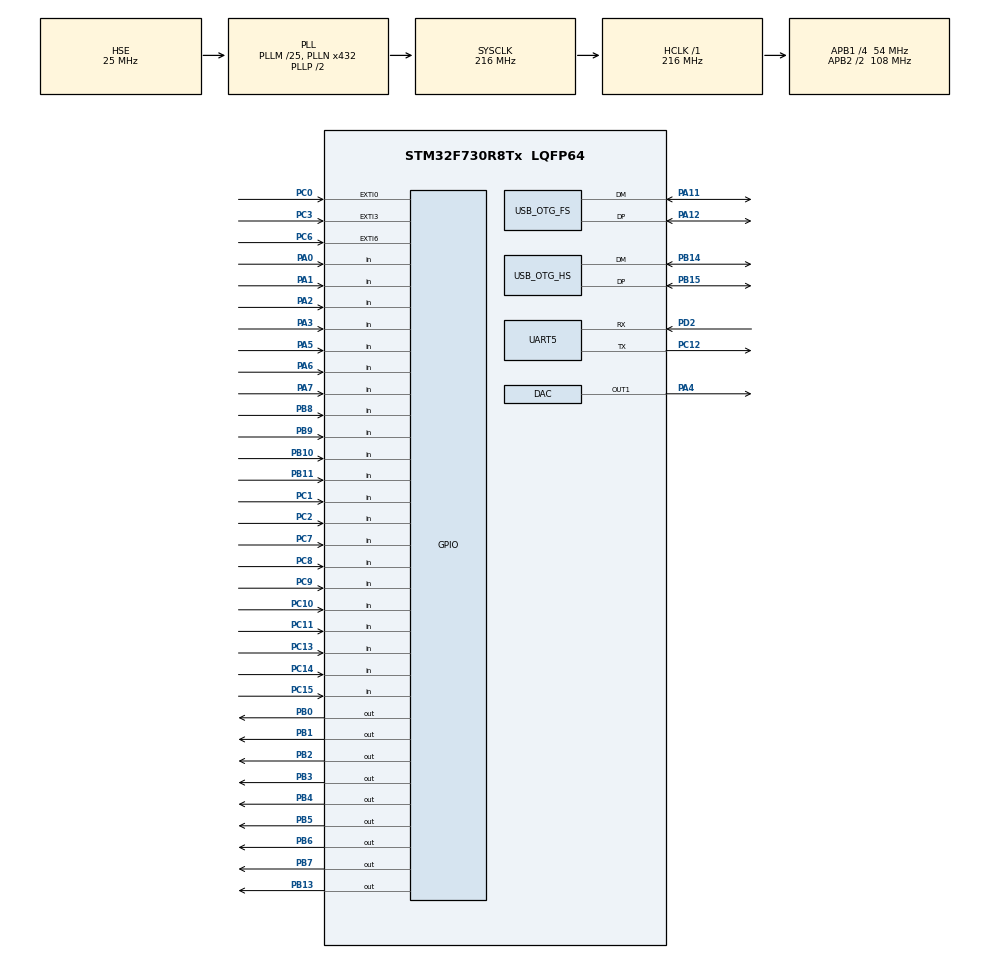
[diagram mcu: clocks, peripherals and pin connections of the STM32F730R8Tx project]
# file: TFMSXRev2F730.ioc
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Mcu.Family=STM32F7
Mcu.Name=STM32F730R8Tx
Mcu.Package=LQFP64
NVIC.EXTI0_IRQn=true\:0\:0\:false\:false\:false\:true\:true\:false
NVIC.EXTI3_IRQn=true\:0\:0\:false\:false\:false\:true\:true\:false
NVIC.EXTI9_5_IRQn=true\:2\:0\:true\:false\:false\:true\:true\:true
NVIC.FLASH_IRQn=true\:0\:0\:false\:false\:true\:true\:true\:true
NVIC.FPU_IRQn=true\:0\:0\:false\:false\:true\:true\:false\:true
NVIC.OTG_FS_IRQn=true\:1\:0\:true\:false\:true\:false\:true\:true
NVIC.OTG_HS_EP1_IN_IRQn=true\:1\:0\:true\:false\:true\:true\:true\:true
NVIC.OTG_HS_EP1_OUT_IRQn=true\:1\:0\:true\:false\:true\:true\:true\:true
NVIC.OTG_HS_IRQn=true\:1\:0\:true\:false\:true\:true\:true\:true
NVIC.PVD_IRQn=true\:0\:0\:false\:false\:true\:true\:true\:true
NVIC.PriorityGroup=NVIC_PRIORITYGROUP_4
NVIC.RCC_IRQn=true\:0\:0\:false\:false\:true\:true\:false\:true
NVIC.TIM6_DAC_IRQn=true\:3\:0\:true\:false\:true\:true\:true\:true
NVIC.TIM8_TRG_COM_TIM14_IRQn=true\:15\:0\:false\:false\:true\:false\:true\:true
NVIC.TimeBase=TIM8_TRG_COM_TIM14_IRQn
NVIC.TimeBaseIP=TIM14
NVIC.UART5_IRQn=true\:0\:0\:false\:false\:true\:true\:true\:true
PA0-WKUP.Signal=GPIO_Input
PA1.Signal=GPIO_Input
PA11.Mode=Host_Only
PA11.Signal=USB_OTG_FS_DM
PA12.Mode=Host_Only
PA12.Signal=USB_OTG_FS_DP
PA13.Mode=Serial_Wire
PA13.Signal=SYS_JTMS-SWDIO
PA14.Mode=Serial_Wire
PA14.Signal=SYS_JTCK-SWCLK
PA2.Signal=GPIO_Input
PA3.Signal=GPIO_Input
PA4.Signal=COMP_DAC1_group
PA5.Signal=GPIO_Input
PA6.Signal=GPIO_Input
PA7.Signal=GPIO_Input
PB0.Signal=GPIO_Output
PB1.Signal=GPIO_Output
PB10.Signal=GPIO_Input
PB11.Signal=GPIO_Input
PB13.PinState=GPIO_PIN_SET
PB13.Signal=GPIO_Output
PB14.Mode=Internal_Phy_Host
PB14.Signal=USB_OTG_HS_DM
PB15.Mode=Internal_Phy_Host
PB15.Signal=USB_OTG_HS_DP
PB2.Signal=GPIO_Output
PB3.Signal=GPIO_Output
PB4.Signal=GPIO_Output
PB5.Signal=GPIO_Output
PB6.Signal=GPIO_Output
PB7.Signal=GPIO_Output
PB8.Signal=GPIO_Input
PB9.Signal=GPIO_Input
PC0.Signal=GPXTI0
PC1.Signal=GPIO_Input
PC10.Signal=GPIO_Input
PC11.Signal=GPIO_Input
PC12.Mode=Asynchronous
PC12.Signal=UART5_TX
PC13.Signal=GPIO_Input
PC14-OSC32_IN.Signal=GPIO_Input
PC15-OSC32_OUT.Signal=GPIO_Input
PC2.Signal=GPIO_Input
PC3.Signal=GPXTI3
PC6.GPIO_ModeDefaultEXTI=GPIO_MODE_IT_RISING_FALLING
PC6.Signal=GPXTI6
PC7.Signal=GPIO_Input
PC8.Signal=GPIO_Input
PC9.Signal=GPIO_Input
PD2.Mode=Asynchronous
PD2.Signal=UART5_RX
PH0-OSC_IN.Mode=HSE-External-Oscillator
PH0-OSC_IN.Signal=RCC_OSC_IN
PH1-OSC_OUT.Mode=HSE-External-Oscillator
PH1-OSC_OUT.Signal=RCC_OSC_OUT
ProjectManager.HeapSize=0x2000
ProjectManager.StackSize=0x2000
ProjectManager.TargetToolchain=STM32CubeIDE
RCC.AHBFreq_Value=216000000
RCC.APB1CLKDivider=RCC_HCLK_DIV4
RCC.APB1Freq_Value=54000000
RCC.APB1TimFreq_Value=108000000
RCC.APB2CLKDivider=RCC_HCLK_DIV2
RCC.APB2Freq_Value=108000000
RCC.APB2TimFreq_Value=216000000
RCC.CortexFreq_Value=216000000
RCC.EnbaleCSS=true
RCC.HCLKFreq_Value=216000000
RCC.HSE_Timout=1000
RCC.HSE_VALUE=25000000
RCC.HSI_VALUE=16000000
RCC.LSE_VALUE=32768
RCC.PLLM=25
RCC.PLLN=432
RCC.PLLQ=9
RCC.SYSCLKFreq_VALUE=216000000
RCC.SYSCLKSource=RCC_SYSCLKSOURCE_PLLCLK
RCC.USBFreq_Value=48000000
RCC.VCOOutputFreq_Value=432000000
SH.COMP_DAC1_group.0=DAC_OUT1,DAC_OUT1
USB_HOST.USBH_HandleTypeDef-HID_FS=hUsbHostFS
USB_HOST.USBH_HandleTypeDef-HID_HS=hUsbHostHS
USB_HOST.VirtualModeFS=Hid
USB_HOST.VirtualModeHS=Hid
USB_OTG_FS.VirtualMode=Host_Only
USB_OTG_FS.phy_itface=HCD_PHY_EMBEDDED
USB_OTG_HS.Sof_enable-Internal_Phy_Host=DISABLE
USB_OTG_HS.VirtualMode-Internal_Phy_Host=Int_Phy_Host
USB_OTG_HS.dma_enable-Internal_Phy_Host=DISABLE
VP_SYS_VS_tim14.Mode=TIM14
VP_USB_HOST_VS_USB_HOST_HID_FS.Mode=HID_FS
VP_USB_HOST_VS_USB_HOST_HID_HS.Mode=HID_HS
board=custom

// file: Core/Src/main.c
/* USER CODE BEGIN Header */
/**
  ******************************************************************************
  * @file           : main.c
  * @brief          : Main program body
  ******************************************************************************
  * @attention
  *
  * Copyright (c) 2023 STMicroelectronics.
  * All rights reserved.
  *
  * This software is licensed under terms that can be found in the LICENSE file
  * in the root directory of this software component.
  * If no LICENSE file comes with this software, it is provided AS-IS.
  *
  ******************************************************************************
  */
/* USER CODE END Header */
#include "main.h"
#include <stdio.h>
#include "dac.h"
#include "usart.h"
#include "usb_host.h"
#include "gpio.h"

/* USER CODE BEGIN Includes */
#include "msx.h"
#include "joystick.h"

/* USER CODE END Includes */

void SystemClock_Config(void);
void MX_USB_HOST_Process(void);

/* USER CODE BEGIN 0 */
int __io_putchar(int ch)
{
  static int previous = 0;
  uint8_t byte;

  if ((ch == '\n') && (previous != '\r'))
  {
    byte = '\r';
    HAL_UART_Transmit(&huart5, &byte, 1, HAL_MAX_DELAY);
  }

  byte = (uint8_t)ch;
  HAL_UART_Transmit(&huart5, &byte, 1, HAL_MAX_DELAY);
  previous = ch;
  return ch;
}

/* USER CODE END 0 */

int main(void)
{

  /* MCU Configuration--------------------------------------------------------*/

  /* Reset of all peripherals, Initializes the Flash interface and the Systick. */

	HAL_Init();

  /* Configure the system clock */
  SystemClock_Config();

  /* Initialize all configured peripherals */
  MX_GPIO_Init();
  MX_UART5_Init();
  MX_USB_HOST_Init();
  MX_DAC_Init();
  /* USER CODE BEGIN 2 */
  InitMSXKeyboard();
  TFMSX_DEBUG_PRINTF("TFMSX started\r\n");

  /* USER CODE END 2 */

  /* Infinite loop */
  while (1)
  {
    MX_USB_HOST_Process();

    /* USER CODE BEGIN 3 */
     ProcessMSXKeyboard();
     ProcessJoystick();

     SetLEDs();

  }

  /* USER CODE END 3 */
}

void SystemClock_Config(void)
{
  RCC_OscInitTypeDef RCC_OscInitStruct = {0};
  RCC_ClkInitTypeDef RCC_ClkInitStruct = {0};

  /** Configure the main internal regulator output voltage
  */
  __HAL_RCC_PWR_CLK_ENABLE();
  __HAL_PWR_VOLTAGESCALING_CONFIG(PWR_REGULATOR_VOLTAGE_SCALE1);

  /** Initializes the RCC Oscillators according to the specified parameters
  * in the RCC_OscInitTypeDef structure.
  */
  RCC_OscInitStruct.OscillatorType = RCC_OSCILLATORTYPE_HSE;
  RCC_OscInitStruct.HSEState = RCC_HSE_ON;
  RCC_OscInitStruct.PLL.PLLState = RCC_PLL_ON;
  RCC_OscInitStruct.PLL.PLLSource = RCC_PLLSOURCE_HSE;
  RCC_OscInitStruct.PLL.PLLM = 25;
  RCC_OscInitStruct.PLL.PLLN = 432;
  RCC_OscInitStruct.PLL.PLLP = RCC_PLLP_DIV2;
  RCC_OscInitStruct.PLL.PLLQ = 9;
  if (HAL_RCC_OscConfig(&RCC_OscInitStruct) != HAL_OK)
  {
    Error_Handler();
  }

  /** Activate the Over-Drive mode
  */
  if (HAL_PWREx_EnableOverDrive() != HAL_OK)
  {
    Error_Handler();
  }

  /** Initializes the CPU, AHB and APB buses clocks
  */
  RCC_ClkInitStruct.ClockType = RCC_CLOCKTYPE_HCLK|RCC_CLOCKTYPE_SYSCLK
                              |RCC_CLOCKTYPE_PCLK1|RCC_CLOCKTYPE_PCLK2;
  RCC_ClkInitStruct.SYSCLKSource = RCC_SYSCLKSOURCE_PLLCLK;
  RCC_ClkInitStruct.AHBCLKDivider = RCC_SYSCLK_DIV1;
  RCC_ClkInitStruct.APB1CLKDivider = RCC_HCLK_DIV4;
  RCC_ClkInitStruct.APB2CLKDivider = RCC_HCLK_DIV2;

  if (HAL_RCC_ClockConfig(&RCC_ClkInitStruct, FLASH_LATENCY_7) != HAL_OK)
  {
    Error_Handler();
  }

  /** Enables the Clock Security System
  */
  HAL_RCC_EnableCSS();
}

void HAL_TIM_PeriodElapsedCallback(TIM_HandleTypeDef *htim)
{
  if (htim->Instance == TIM14) {
    HAL_IncTick();
  }
}

void Error_Handler(void)
{
  __disable_irq();
  while (1)
  {
  }
}
